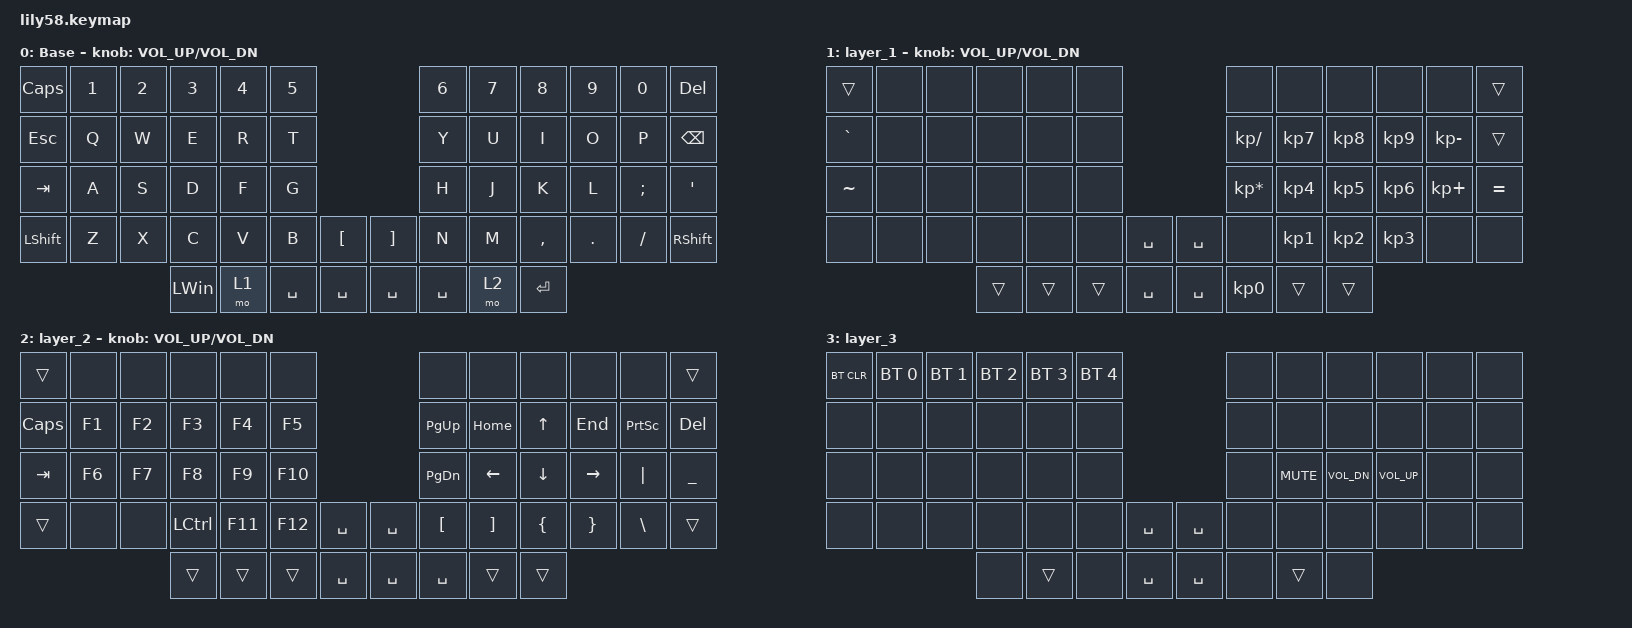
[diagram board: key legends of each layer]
/*
 * Copyright (c) 2020 The ZMK Contributors
 *
 * SPDX-License-Identifier: MIT
 */

#include <behaviors.dtsi>
#include <dt-bindings/zmk/bt.h>
#include <dt-bindings/zmk/keys.h>

/ {
    keymap {
        compatible = "zmk,keymap";

        default_layer {
            display-name = "Base";
            bindings = <
&kp CAPS   &kp N1  &kp N2  &kp N3        &kp N4  &kp N5                             &kp N6     &kp N7  &kp N8     &kp N9   &kp N0    &kp DELETE
&kp ESC    &kp Q   &kp W   &kp E         &kp R   &kp T                              &kp Y      &kp U   &kp I      &kp O    &kp P     &kp BSPC
&kp TAB    &kp A   &kp S   &kp D         &kp F   &kp G                              &kp H      &kp J   &kp K      &kp L    &kp SEMI  &kp APOS
&kp LSHFT  &kp Z   &kp X   &kp C         &kp V   &kp B      &kp LBKT     &kp RBKT   &kp N      &kp M   &kp COMMA  &kp DOT  &kp FSLH  &kp RSHFT
                           &kp LEFT_WIN  &mo 1   &kp SPACE  &kp SPACE    &kp SPACE  &kp SPACE  &mo 2   &kp ENTER
            >;

            sensor-bindings = <&inc_dec_kp C_VOL_UP C_VOL_DN>;
        };

        layer_1 {
            display-name = "layer_1";
            bindings = <
&trans     &none  &none  &none   &none   &none                           &none            &none      &none      &none      &none         &trans
&kp GRAVE  &none  &none  &none   &none   &none                           &kp KP_DIVIDE    &kp KP_N7  &kp KP_N8  &kp KP_N9  &kp KP_MINUS  &trans
&kp TILDE  &none  &none  &none   &none   &none                           &kp KP_ASTERISK  &kp KP_N4  &kp KP_N5  &kp KP_N6  &kp KP_PLUS   &kp EQUAL
&none      &none  &none  &none   &none   &none   &kp SPACE    &kp SPACE  &none            &kp KP_N1  &kp KP_N2  &kp KP_N3  &none         &none
                         &trans  &trans  &trans  &kp SPACE    &kp SPACE  &kp KP_N0        &trans     &trans
            >;

            sensor-bindings = <&inc_dec_kp C_VOL_UP C_VOL_DN>;
        };

        layer_2 {
            // ------------------------------------------------------------------------------------------------------------
            // |       |     |     |      |      |      |                   |      |       |       |      |       |       |
            // |   `   |  1  |  2  |  3   |  4   |  5   |                   |  6   |   7   |   8   |  9   |   0   |       |
            // |   F1  |  F2 |  F3 |  F4  |  F5  |  F6  |                   |      |   <-  |   v   |  ^   |  ->   |       |
            // |   F7  |  F8 |  F9 |  F10 |  F11 |  F12 |        |  |       |  +   |   -   |   =   |  [   |   ]   |   \   |
            //                     |      |      |      |        |  |       |      |       |       |

            display-name = "layer_2";
            bindings = <
&trans    &none   &none   &none      &none    &none                            &none      &none     &none           &none            &none            &trans
&kp CAPS  &kp F1  &kp F2  &kp F3     &kp F4   &kp F5                           &kp PG_UP  &kp HOME  &kp UP          &kp END          &kp PRINTSCREEN  &kp DEL
&kp TAB   &kp F6  &kp F7  &kp F8     &kp F9   &kp F10                          &kp PG_DN  &kp LEFT  &kp DOWN        &kp RIGHT        &kp PIPE         &kp UNDER
&trans    &none   &none   &kp LCTRL  &kp F11  &kp F12  &kp SPACE    &kp SPACE  &kp LBKT   &kp RBKT  &kp LEFT_BRACE  &kp RIGHT_BRACE  &kp BSLH         &trans
                          &trans     &trans   &trans   &kp SPACE    &kp SPACE  &kp SPACE  &trans    &trans
            >;

            sensor-bindings = <&inc_dec_kp C_VOL_UP C_VOL_DN>;
        };

        layer_3 {
            bindings = <
&bt BT_CLR  &bt BT_SEL 0  &bt BT_SEL 1  &bt BT_SEL 2  &bt BT_SEL 3  &bt BT_SEL 4                          &none  &none       &none         &none         &none  &none
&none       &none         &none         &none         &none         &none                                 &none  &none       &none         &none         &none  &none
&none       &none         &none         &none         &none         &none                                 &none  &kp K_MUTE  &kp C_VOL_DN  &kp C_VOL_UP  &none  &none
&none       &none         &none         &none         &none         &none         &kp SPACE    &kp SPACE  &none  &none       &none         &none         &none  &none
                                        &none         &trans        &none         &kp SPACE    &kp SPACE  &none  &trans      &none
            >;
        };
    };

    conditional_layers {
        compatible = "zmk,conditional-layers";

        layer3 {
            if-layers = <1 2>;
            then-layer = <3>;
        };
    };
};
